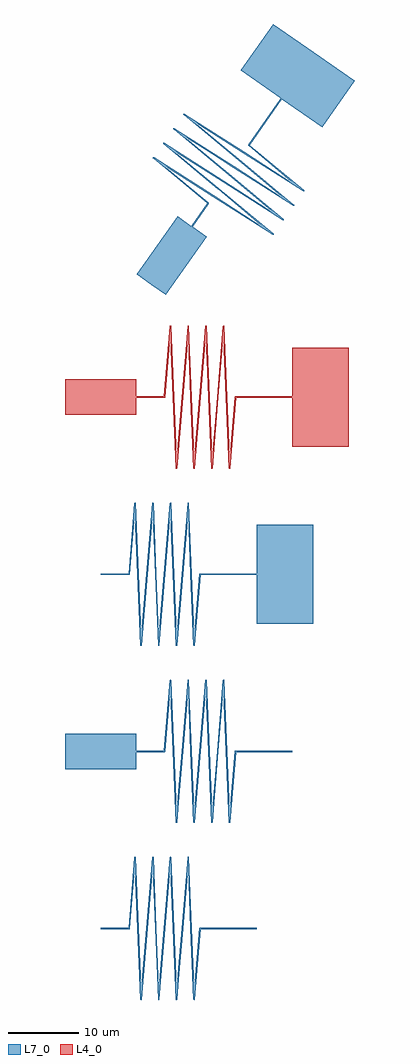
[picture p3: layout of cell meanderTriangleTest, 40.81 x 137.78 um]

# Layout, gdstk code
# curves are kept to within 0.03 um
import gdstk
lib = gdstk.Library(unit=1e-6, precision=1e-09)
def P(c, l, *ps):  # polygons
    for p in ps: c.add(gdstk.Polygon(p, *l))
L4_0 = (4, 0)
L7_0 = (7, 0)

meandertriangletest = lib.new_cell('meanderTriangleTest')
P(meandertriangletest, L4_0, [(-5,-2.5),(-5,0),(9.1,0),(9,-0.1),(5,-0.1),(5,-2.5)],
  [(10.667,-10.1),(10.597,-10.071),(10.567,-10.004),(10.15,0),(10.35,0),(10.7,-8.397),(11.4,0),(11.6,0),(10.766,-10.008),(10.734,-10.074)],
  [(13.167,-10.1),(13.097,-10.071),(13.067,-10.004),(12.65,0),(12.85,0),(13.2,-8.397),(13.9,0),(14.1,0),(13.266,-10.008),(13.234,-10.074)],
  [(15.667,-10.1),(15.597,-10.071),(15.567,-10.004),(15.15,0),(15.35,0),(15.7,-8.397),(16.4,0),(16.6,0),(15.766,-10.008),(15.734,-10.074)],
  [(18.167,-10.1),(18.067,-10.004),(17.65,0),(17.85,0),(18.2,-8.397),(18.9,0),(35,0),(35,-7),(27,-7),(27,-0.1),(19.092,-0.1),(18.266,-10.008)],
  [(-5,0),(-5,2.5),(5,2.5),(5,0.1),(8.908,0.1),(9.734,10.008),(9.814,10.098),(9.915,10.057),(10.35,0),(10.15,0),(9.8,8.397),(9.1,0)],
  [(11.4,0),(12.234,10.008),(12.266,10.074),(12.335,10.1),(12.403,10.071),(12.433,10.004),(12.85,0),(12.65,0),(12.3,8.397),(11.6,0)],
  [(13.9,0),(14.734,10.008),(14.766,10.074),(14.835,10.1),(14.903,10.071),(14.933,10.004),(15,8.402),(15,3.598),(14.8,8.397),(14.1,0)],
  [(18.9,0),(19,0.1),(27,0.1),(27,7),(35,7),(35,0)],
  [(15.15,0),(15,3.598),(15,8.402),(15.35,0)],
  [(16.4,0),(17.234,10.008),(17.266,10.074),(17.335,10.1),(17.403,10.071),(17.433,10.004),(17.85,0),(17.65,0),(17.3,8.397),(16.6,0)])
P(meandertriangletest, L7_0, [(0,-25.1),(0,-25),(4.1,-25),(4.1,-25.008),(4.096,-25.027),(4.09,-25.045),(4.08,-25.06),(4.068,-25.074),(4.053,-25.085),(4.037,-25.093),(4.019,-25.098),(4,-25.1)],
  [(5.667,-35.1),(5.597,-35.071),(5.567,-35.004),(5.15,-25),(5.35,-25),(5.7,-33.397),(6.4,-25),(6.6,-25),(5.766,-35.008),(5.734,-35.074)],
  [(8.167,-35.1),(8.097,-35.071),(8.067,-35.004),(7.65,-25),(7.85,-25),(8.2,-33.397),(8.9,-25),(9.1,-25),(8.266,-35.008),(8.234,-35.074)],
  [(10.667,-35.1),(10.597,-35.071),(10.567,-35.004),(10.15,-25),(10.35,-25),(10.7,-33.397),(11.4,-25),(11.6,-25),(10.766,-35.008),(10.734,-35.074)],
  [(13.167,-35.1),(13.097,-35.071),(13.067,-35.004),(12.65,-25),(12.85,-25),(13.2,-33.397),(13.9,-25),(15,-25),(15,-25.1),(14.092,-25.1),(13.266,-35.008),(13.234,-35.074)],
  [(22,-32),(22,-25.1),(15,-25.1),(15,-25),(30,-25),(30,-32)],
  [(13.9,-25),(13.9,-24.992),(13.904,-24.973),(13.91,-24.956),(13.92,-24.94),(13.932,-24.926),(13.947,-24.915),(13.963,-24.907),(13.981,-24.902),(14,-24.9),(15,-24.9),(15,-25)],
  [(0,-25),(0,-24.9),(3.908,-24.9),(4.734,-14.992),(4.78,-14.915),(4.873,-14.908),(4.933,-14.996),(5.35,-25),(5.15,-25),(4.8,-16.603),(4.1,-25)],
  [(6.4,-25),(7.234,-14.992),(7.266,-14.926),(7.335,-14.9),(7.403,-14.929),(7.433,-14.996),(7.85,-25),(7.65,-25),(7.3,-16.603),(6.6,-25)],
  [(8.9,-25),(9.734,-14.992),(9.766,-14.926),(9.835,-14.9),(9.903,-14.929),(9.933,-14.996),(10.35,-25),(10.15,-25),(9.8,-16.603),(9.1,-25)],
  [(11.4,-25),(12.234,-14.992),(12.266,-14.926),(12.335,-14.9),(12.403,-14.929),(12.433,-14.996),(12.85,-25),(12.65,-25),(12.3,-16.603),(11.6,-25)],
  [(15,-25),(15,-24.9),(22,-24.9),(22,-18),(30,-18),(30,-25)],
  [(-5,-52.5),(-5,-50),(9.1,-50),(9,-50.1),(5,-50.1),(5,-52.5)],
  [(10.667,-60.1),(10.597,-60.071),(10.567,-60.004),(10.15,-50),(10.35,-50),(10.7,-58.397),(11,-54.796),(11,-57.204),(10.766,-60.008),(10.734,-60.074)],
  [(11,-57.204),(11,-54.796),(11.4,-50),(11.6,-50),(11.6,-50.008)],
  [(13.167,-60.1),(13.097,-60.071),(13.067,-60.004),(12.65,-50),(12.85,-50),(13.2,-58.397),(13.9,-50),(14.1,-50),(13.266,-60.008),(13.234,-60.074)],
  [(15.667,-60.1),(15.597,-60.071),(15.567,-60.004),(15.15,-50),(15.35,-50),(15.7,-58.397),(16.4,-50),(16.6,-50),(15.766,-60.008),(15.734,-60.074)],
  [(18.167,-60.1),(18.097,-60.071),(18.067,-60.004),(17.65,-50),(17.85,-50),(18.2,-58.397),(18.9,-50),(27,-50),(27,-50.1),(19.092,-50.1),(18.266,-60.008),(18.234,-60.074)],
  [(-5,-50),(-5,-47.5),(5,-47.5),(5,-49.9),(8.908,-49.9),(9.734,-39.992),(9.814,-39.902),(9.915,-39.943),(10.35,-50),(10.15,-50),(9.8,-41.603),(9.1,-50)],
  [(18.9,-50),(18.9,-49.992),(18.904,-49.973),(18.91,-49.956),(18.92,-49.94),(18.932,-49.926),(18.947,-49.915),(18.963,-49.907),(18.981,-49.902),(19,-49.9),(27,-49.9),(27,-50)],
  [(11.4,-50),(12.234,-39.992),(12.266,-39.926),(12.335,-39.9),(12.403,-39.929),(12.433,-39.996),(12.85,-50),(12.65,-50),(12.3,-41.603),(11.6,-50)],
  [(13.9,-50),(14.734,-39.992),(14.766,-39.926),(14.835,-39.9),(14.903,-39.929),(14.933,-39.996),(15.35,-50),(15.15,-50),(14.8,-41.603),(14.1,-50)],
  [(16.4,-50),(17.234,-39.992),(17.266,-39.926),(17.335,-39.9),(17.403,-39.929),(17.433,-39.996),(17.85,-50),(17.65,-50),(17.3,-41.603),(16.6,-50)],
  [(0,-75.1),(0,-75),(4.1,-75),(4.1,-75.008),(4.096,-75.027),(4.09,-75.044),(4.08,-75.06),(4.068,-75.074),(4.053,-75.085),(4.037,-75.093),(4.019,-75.098),(4,-75.1)],
  [(5.667,-85.1),(5.597,-85.071),(5.567,-85.004),(5.15,-75),(5.35,-75),(5.7,-83.397),(6.4,-75),(6.6,-75),(5.766,-85.008),(5.734,-85.074)],
  [(8.167,-85.1),(8.097,-85.071),(8.067,-85.004),(7.65,-75),(7.85,-75),(8.2,-83.397),(8.9,-75),(9.1,-75),(8.266,-85.008),(8.234,-85.074)],
  [(10.667,-85.1),(10.597,-85.071),(10.567,-85.004),(10.15,-75),(10.35,-75),(10.7,-83.397),(11,-79.796),(11,-82.204),(10.766,-85.008),(10.734,-85.074)],
  [(11,-82.204),(11,-79.796),(11.4,-75),(11.6,-75),(11.6,-75.008)],
  [(13.167,-85.1),(13.097,-85.071),(13.067,-85.004),(12.65,-75),(12.85,-75),(13.2,-83.397),(13.9,-75),(22,-75),(22,-75.1),(14.092,-75.1),(13.266,-85.008),(13.234,-85.074)],
  [(0,-75),(0,-74.9),(3.908,-74.9),(4.734,-64.992),(4.78,-64.915),(4.873,-64.908),(4.933,-64.996),(5.35,-75),(5.15,-75),(4.8,-66.603),(4.1,-75)],
  [(6.4,-75),(7.234,-64.992),(7.266,-64.926),(7.335,-64.9),(7.403,-64.929),(7.433,-64.996),(7.85,-75),(7.65,-75),(7.3,-66.603),(6.6,-75)],
  [(8.9,-75),(9.734,-64.992),(9.766,-64.926),(9.835,-64.9),(9.903,-64.929),(9.933,-64.996),(10.35,-75),(10.15,-75),(9.8,-66.603),(9.1,-75)],
  [(13.9,-75),(13.9,-74.992),(13.904,-74.973),(13.91,-74.956),(13.92,-74.94),(13.932,-74.926),(13.947,-74.915),(13.963,-74.907),(13.981,-74.902),(14,-74.9),(22,-74.9),(22,-75)],
  [(11.4,-75),(12.234,-64.992),(12.266,-64.926),(12.335,-64.9),(12.403,-64.929),(12.433,-64.996),(12.85,-75),(12.65,-75),(12.3,-66.603),(11.6,-75)],
  [(9.18,14.47),(7.132,15.904),(15.22,27.455),(15.244,27.315),(12.95,24.038),(14.916,22.662)],
  [(24.31,22.902),(15.822,28.314),(15.937,28.478),(23.015,23.949),(16.539,29.338),(16.654,29.502),(24.374,23.079),(24.401,22.961)],
  [(25.744,24.95),(17.256,30.362),(17.371,30.526),(24.449,25.997),(17.973,31.386),(18.088,31.55),(25.808,25.127),(25.835,25.009)],
  [(27.177,26.998),(18.69,32.41),(18.804,32.574),(25.883,28.045),(19.406,33.434),(19.522,33.598),(27.241,27.175),(27.269,27.057)],
  [(28.611,29.045),(20.124,34.458),(20.238,34.622),(27.317,30.092),(20.84,35.482),(30.075,48.67),(35.809,44.655),(31.221,38.102),(25.568,42.06),(21.033,35.582),(28.675,29.222),(28.703,29.105)],
  [(7.132,15.904),(5.084,17.338),(10.82,25.53),(12.786,24.153),(15.027,27.354),(7.385,33.714),(7.357,33.831),(7.449,33.891),(15.937,28.478),(15.822,28.314),(8.743,32.844),(15.22,27.455)],
  [(16.539,29.338),(8.819,35.762),(8.783,35.825),(8.802,35.898),(8.86,35.936),(8.937,35.923),(17.371,30.526),(17.256,30.362),(10.177,34.892),(16.654,29.502)],
  [(17.973,31.386),(10.253,37.81),(10.217,37.873),(10.235,37.944),(10.294,37.984),(10.358,37.978),(11.721,37.107),(15.656,34.351),(11.611,36.94),(18.088,31.55)],
  [(18.69,32.41),(15.656,34.351),(11.721,37.107),(18.804,32.574)],
  [(19.406,33.434),(11.687,39.858),(11.651,39.921),(11.669,39.992),(11.728,40.032),(11.804,40.019),(20.238,34.622),(20.124,34.458),(13.045,38.987),(19.522,33.598)],
  [(20.84,35.482),(20.816,35.621),(25.405,42.174),(19.752,46.132),(24.341,52.685),(30.075,48.67)])

lib.write_gds('meanderTriangleTest.gds')
